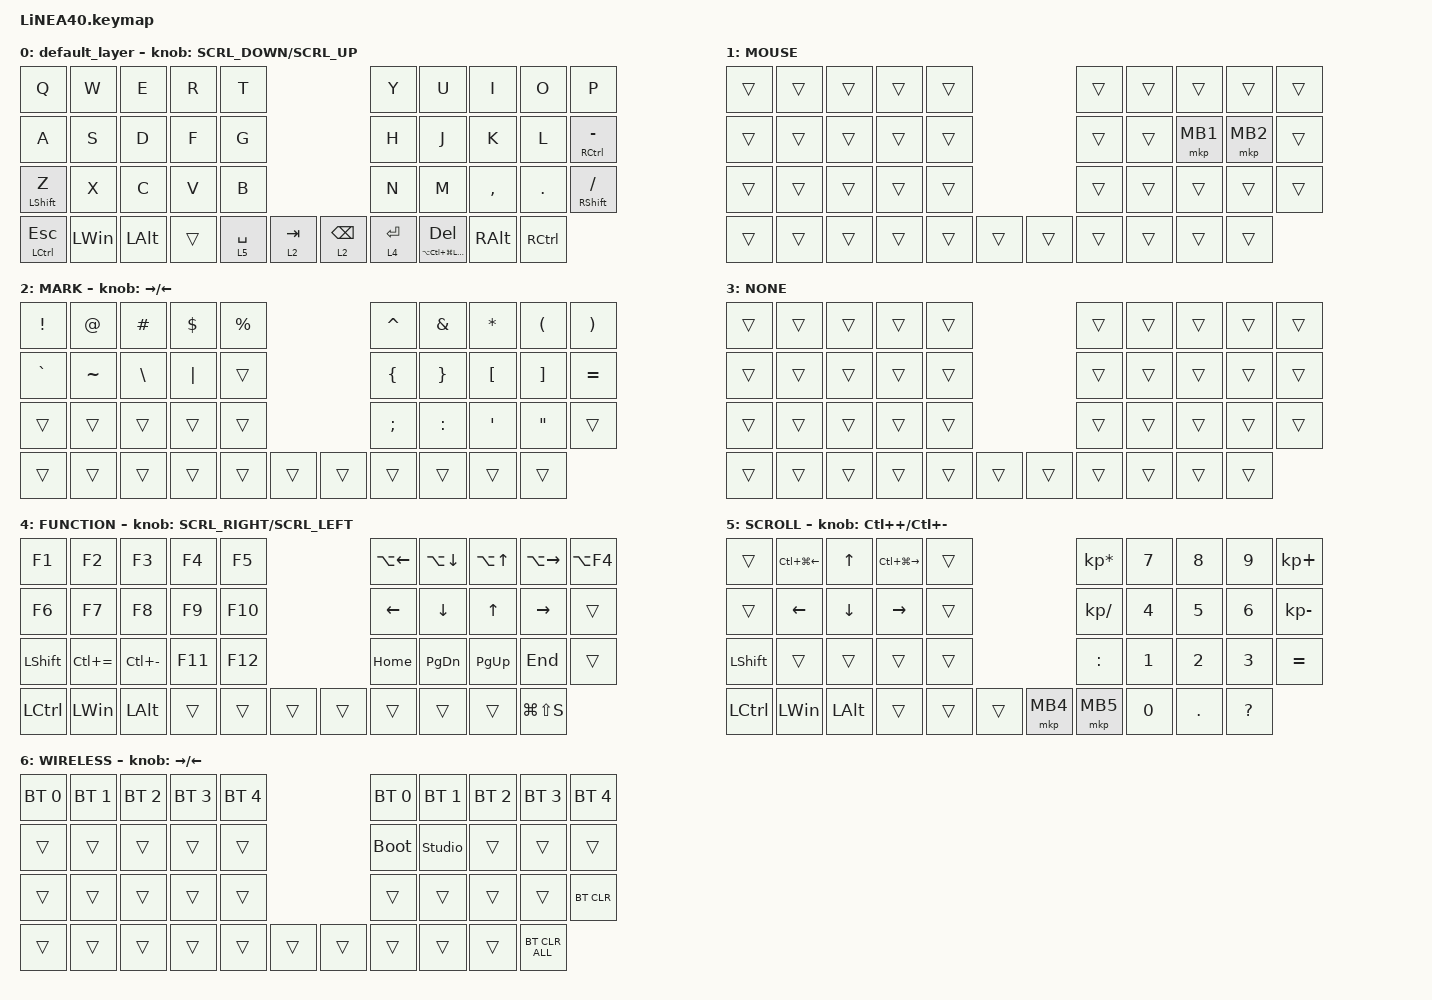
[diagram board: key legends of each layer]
#define ZMK_POINTING_DEFAULT_SCRL_VAL 150

#include <dt-bindings/zmk/input_transform.h>
#include <input/processors.dtsi>
#include <zephyr/dt-bindings/input/input-event-codes.h>
#include <behaviors.dtsi>
#include <dt-bindings/zmk/bt.h>
#include <dt-bindings/zmk/keys.h>
#include <dt-bindings/zmk/pointing.h>

#define MOUSE 1
#define MARK 2
#define CURSOR 3
#define FUNCTION 4
#define SCROLL 5
#define WIRELESS 6

//mouse cursol

&mmv {
    delay-ms = <20>;
    trigger-period-ms = <5>;
    time-to-max-speed-ms = <100>;
    acceleration-exponent = <2>;
};

//mouse scroll

&msc {
    delay-ms = <3>;
    trigger-period-ms = <3>;
    time-to-max-speed-ms = <100>;
    acceleration-exponent = <0>;
};

&mt { flavor = "balanced"; };

/ {
    input_processors {
        zip_wheel_scaler: zip_wheel_scaler {
            compatible = "zmk,input-processor-scaler";
            #input-processor-cells = <2>;
            type = <INPUT_EV_REL>;
            codes = <INPUT_REL_WHEEL>;
            track-remainders;
        };
    };
};

&msc_input_listener {
    speed_up {
        layers = <FUNCTION>;
        input-processors = <&zip_wheel_scaler 3 1>; //スクロールを3倍速にする
    };
};

&trackball_listener {
    scroller {
        layers = <SCROLL>;
        input-processors =
            <&zip_xy_transform INPUT_TRANSFORM_Y_INVERT>,
            //スクロール方向を逆転,,,,,,,,,,,
            <&zip_xy_to_scroll_mapper>;
    };
};

/ {
    combos {
        compatible = "zmk,combos";

        ZenkakuHankaku {
            bindings = <&kp LC(SPACE)>;
            key-positions = <11 12>;
        };

        CenterClick {
            bindings = <&mkp MB3>;
            key-positions = <17 18>;
            layers = <1>;
        };

        Layer6 {
            bindings = <&mo 6>;
            key-positions = <35 36>;
            layers = <0>;
        };

        Backspace {
            bindings = <&kp BACKSPACE>;
            key-positions = <27 28>;
        };
    };

    behaviors {
        re_kp: sensor_rotate_kp {
            compatible = "zmk,behavior-sensor-rotate-var";
            #sensor-binding-cells = <2>;
            bindings = <&kp>, <&kp>;
        };

        mouse_scrl: mouse_wheel_scrl {
            compatible = "zmk,behavior-sensor-rotate-var";
            #sensor-binding-cells = <2>;
            bindings = <&msc>, <&msc>;

            tap-ms = <20>;
        };
    };

    keymap {
        compatible = "zmk,keymap";

        default_layer {
            bindings = <
&kp Q                 &kp W         &kp E         &kp R   &kp T                                      &kp Y        &kp U  &kp I                          &kp O     &kp P
&kp A                 &kp S         &kp D         &kp F   &kp G                                      &kp H        &kp J  &kp K                          &kp L     &mt RIGHT_CONTROL MINUS
&mt LSHFT Z           &kp X         &kp C         &kp V   &kp B                                      &kp N        &kp M  &kp COMMA                      &kp DOT   &mt RIGHT_SHIFT SLASH
&mt LEFT_CONTROL ESC  &kp LEFT_WIN  &kp LEFT_ALT  &trans  &lt 5 SPACE  &lt 2 TAB    &lt 2 BACKSPACE  &lt 4 ENTER         &mt LA(LC(LG(LSHIFT))) DELETE  &kp RALT  &kp RIGHT_CONTROL
            >;

            sensor-bindings = <&mouse_scrl SCRL_DOWN SCRL_UP>;
        };

        MOUSE {
            bindings = <
&trans  &trans  &trans  &trans  &trans                    &trans  &trans  &trans    &trans    &trans
&trans  &trans  &trans  &trans  &trans                    &trans  &trans  &mkp MB1  &mkp MB2  &trans
&trans  &trans  &trans  &trans  &trans                    &trans  &trans  &trans    &trans    &trans
&trans  &trans  &trans  &trans  &trans  &trans    &trans  &trans          &trans    &trans    &trans
            >;
        };

        MARK {
            bindings = <
&kp EXCLAMATION  &kp AT     &kp HASH       &kp DOLLAR  &kp PERCENT                    &kp CARET       &kp AMPERSAND    &kp ASTERISK      &kp LEFT_PARENTHESIS  &kp RIGHT_PARENTHESIS
&kp GRAVE        &kp TILDE  &kp BACKSLASH  &kp PIPE    &trans                         &kp LEFT_BRACE  &kp RIGHT_BRACE  &kp LEFT_BRACKET  &kp RIGHT_BRACKET     &kp EQUAL
&trans           &trans     &trans         &trans      &trans                         &kp SEMICOLON   &kp COLON        &kp SINGLE_QUOTE  &kp DOUBLE_QUOTES     &trans
&trans           &trans     &trans         &trans      &trans       &trans    &trans  &trans                           &trans            &trans                &trans
            >;

            sensor-bindings = <&inc_dec_kp RIGHT LEFT>;
        };

        NONE {
            bindings = <
&trans  &trans  &trans  &trans  &trans                    &trans  &trans  &trans  &trans  &trans
&trans  &trans  &trans  &trans  &trans                    &trans  &trans  &trans  &trans  &trans
&trans  &trans  &trans  &trans  &trans                    &trans  &trans  &trans  &trans  &trans
&trans  &trans  &trans  &trans  &trans  &trans    &trans  &trans          &trans  &trans  &trans
            >;
        };

        FUNCTION {
            bindings = <
&kp F1            &kp F2         &kp F3         &kp F4   &kp F5                     &kp LA(LEFT)    &kp LA(DOWN_ARROW)  &kp LA(UP_ARROW)  &kp LA(RIGHT)    &kp LA(F4)
&kp F6            &kp F7         &kp F8         &kp F9   &kp F10                    &kp LEFT_ARROW  &kp DOWN_ARROW      &kp UP_ARROW      &kp RIGHT_ARROW  &trans
&kp LSHFT         &kp LC(EQUAL)  &kp LC(MINUS)  &kp F11  &kp F12                    &kp HOME        &kp PAGE_DOWN       &kp PAGE_UP       &kp END          &trans
&kp LEFT_CONTROL  &kp LEFT_WIN   &kp LALT       &trans   &trans   &trans    &trans  &trans                              &trans            &trans           &kp LG(LS(S))
            >;

            sensor-bindings = <&mouse_scrl SCRL_RIGHT SCRL_LEFT>;
        };

        SCROLL {
            bindings = <
&trans      &kp LC(LG(LEFT_ARROW))  &kp UP_ARROW  &kp LC(LG(RIGHT_ARROW))  &trans                      &kp KP_MULTIPLY  &kp NUMBER_7  &kp NUMBER_8  &kp NUMBER_9  &kp KP_PLUS
&trans      &kp LEFT_ARROW          &kp DOWN      &kp RIGHT_ARROW          &trans                      &kp KP_SLASH     &kp NUMBER_4  &kp NUMBER_5  &kp NUMBER_6  &kp KP_MINUS
&kp LSHIFT  &trans                  &trans        &trans                   &trans                      &kp COLON        &kp NUMBER_1  &kp NUMBER_2  &kp NUMBER_3  &kp EQUAL
&kp LCTRL   &kp LEFT_WIN            &kp LEFT_ALT  &trans                   &trans  &trans    &mkp MB4  &mkp MB5                       &kp NUMBER_0  &kp DOT       &kp QUESTION
            >;

            sensor-bindings = <&inc_dec_kp LC(PLUS) LC(MINUS)>;
        };

        WIRELESS {
            bindings = <
&bt BT_SEL 0  &bt BT_SEL 1  &bt BT_SEL 2  &bt BT_SEL 3  &bt BT_SEL 4                    &bt BT_SEL 0  &bt BT_SEL 1    &bt BT_SEL 2  &bt BT_SEL 3  &bt BT_SEL 4
&trans        &trans        &trans        &trans        &trans                          &bootloader   &studio_unlock  &trans        &trans        &trans
&trans        &trans        &trans        &trans        &trans                          &trans        &trans          &trans        &trans        &bt BT_CLR
&trans        &trans        &trans        &trans        &trans        &trans    &trans  &trans                        &trans        &trans        &bt BT_CLR_ALL
            >;

            sensor-bindings = <&inc_dec_kp RIGHT_ARROW LEFT_ARROW>;
        };
    };
};
